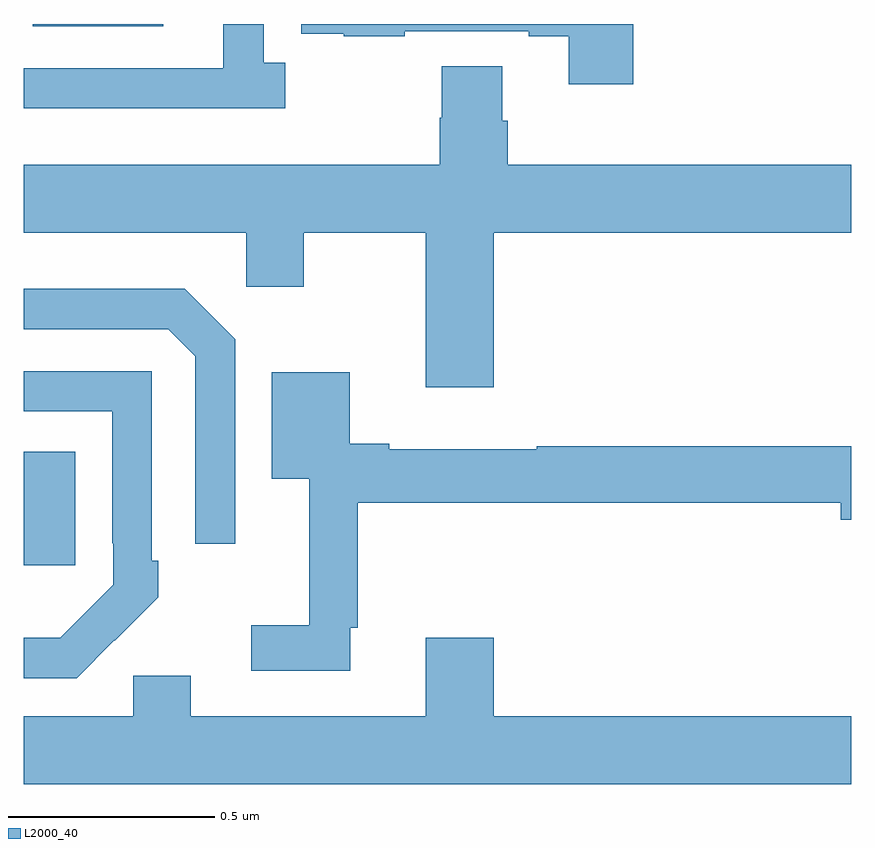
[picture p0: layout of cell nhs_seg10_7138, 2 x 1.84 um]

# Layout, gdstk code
import gdstk
lib = gdstk.Library(unit=1e-6, precision=1e-09)
def R(c, l, rs):  # rectangles x0, y0, x1, y1
    for r in rs: c.add(gdstk.rectangle(r[:2], r[2:], *l))
def P(c, l, *ps):  # polygons
    for p in ps: c.add(gdstk.Polygon(p, *l))
L2000_40 = (2000, 40)

nhs_seg10_7138 = lib.new_cell('nhs_seg10_7138')
R(nhs_seg10_7138, L2000_40, [(200,1286.193,200.125,1286.467), (200.022,1287.495,200.338,1287.5)])
P(nhs_seg10_7138, L2000_40, [(200.632,1287.406),(200.58,1287.406),(200.58,1287.5),(200.483,1287.5),(200.483,1287.393),(200,1287.393),(200,1287.296),(200.632,1287.296)],
  [(201.473,1287.5),(200.671,1287.5),(200.671,1287.477),(200.773,1287.477),(200.773,1287.471),(200.921,1287.471),(200.921,1287.483),(201.221,1287.483),(201.221,1287.471),(201.317,1287.471),(201.317,1287.354),(201.473,1287.354)],
  [(201.136,1286.996),(202,1286.996),(202,1287.16),(201.17,1287.16),(201.17,1287.266),(201.157,1287.266),(201.157,1287.398),(201.01,1287.398),(201.01,1287.273),(201.005,1287.273),(201.005,1287.16),(200,1287.16),(200,1286.996),(200.538,1286.996),(200.538,1286.865),(200.677,1286.865),(200.677,1286.996),(200.972,1286.996),(200.972,1286.622),(201.136,1286.622)],
  [(200.511,1286.739),(200.39,1286.86),(200,1286.86),(200,1286.763),(200.349,1286.763),(200.415,1286.697),(200.415,1286.244),(200.511,1286.244)],
  [(200.219,1286.011),(200.22,1286.01),(200.325,1286.115),(200.325,1286.203),(200.31,1286.203),(200.31,1286.661),(200,1286.661),(200,1286.565),(200.214,1286.565),(200.214,1286.245),(200.217,1286.245),(200.217,1286.145),(200.089,1286.017),(200,1286.017),(200,1285.92),(200.128,1285.92)],
  [(200.789,1286.041),(200.807,1286.041),(200.807,1286.344),(201.974,1286.344),(201.974,1286.302),(202,1286.302),(202,1286.48),(201.24,1286.48),(201.24,1286.473),(200.884,1286.473),(200.884,1286.486),(200.788,1286.486),(200.788,1286.659),(200.6,1286.659),(200.6,1286.402),(200.69,1286.402),(200.69,1286.047),(200.55,1286.047),(200.55,1285.938),(200.789,1285.938)],
  [(202,1285.828),(201.136,1285.828),(201.136,1286.017),(200.972,1286.017),(200.972,1285.828),(200.404,1285.828),(200.404,1285.926),(200.265,1285.926),(200.265,1285.828),(200,1285.828),(200,1285.664),(202,1285.664)])

lib.write_gds('nhs_seg10_7138.gds')
